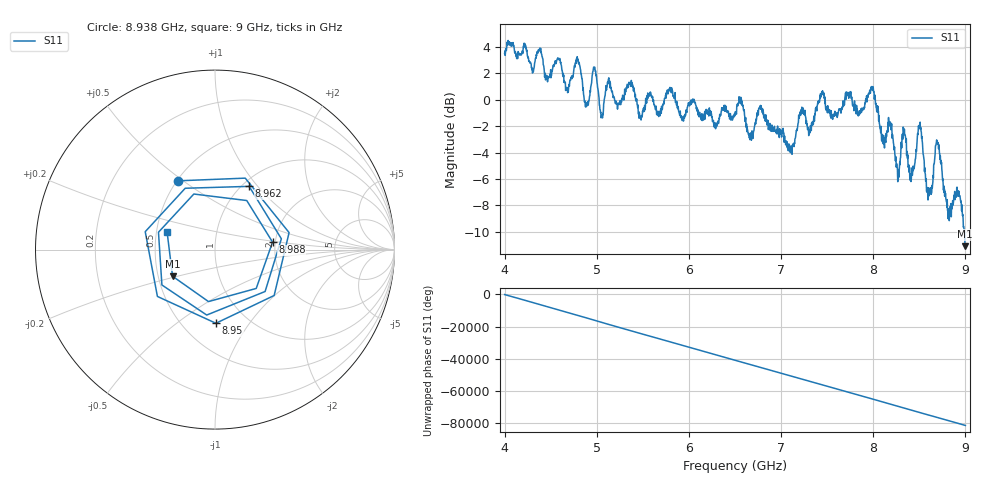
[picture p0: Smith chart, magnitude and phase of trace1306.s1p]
! Created with skrf 1.8.0 (http://scikit-rf.org).
# Hz S RI R 50.0
!freq ReS11 ImS11
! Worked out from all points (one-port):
!   1601 points, 4 GHz to 9 GHz, reference 50 ohm
!   lowest |S11| = -11.1 dB at 8.997 GHz (marker M1), VSWR 1.77, Z = 29.7 - j9.58 ohm
!   |S11| at or under -10 dB: 8.990748 GHz to end of sweep
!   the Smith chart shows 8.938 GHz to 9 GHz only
!   S11 on the Smith chart (normalised r, x): 8.938 GHz: 0.51, +0.48; 8.95 GHz: 0.72, -0.71; 8.962 GHz: 1.08, +0.90; 8.988 GHz: 1.93, +0.18; 9 GHz: 0.57, +0.12
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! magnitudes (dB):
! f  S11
! 4 GHz  3.5
! 4.625 GHz  2.2
! 5.25 GHz  -0.3
! 5.875 GHz  -0.6
! 6.5 GHz  -1.1
! 7.125 GHz  -3.4
! 7.225 GHz  -0.6
! 7.309 GHz  -2.3
! 7.444 GHz  0.4
! 7.553 GHz  -1.2
! 7.75 GHz  0.3
! 7.991 GHz  0.7
! 8.112 GHz  -2.7
! 8.191 GHz  -2.3
! 8.259 GHz  -5.1
! 8.328 GHz  -2.1
! 8.375 GHz  -4.2
! 8.422 GHz  -5.6
! 8.506 GHz  -1.8
! 8.603 GHz  -6.8
! 8.697 GHz  -3.3
! 8.816 GHz  -8.3
! 8.938 GHz  -7.2
! 8.95 GHz  -7.7
! 8.962 GHz  -8.0
! 8.988 GHz  -9.8
! 8.997 GHz  -11.1
! 9 GHz  -10.9
